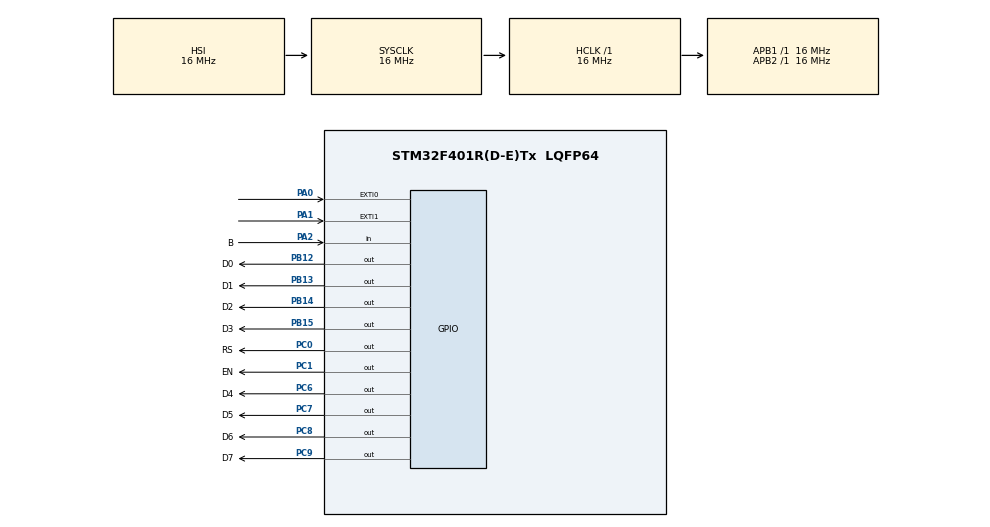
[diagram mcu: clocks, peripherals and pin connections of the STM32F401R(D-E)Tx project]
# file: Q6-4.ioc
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Mcu.Family=STM32F4
Mcu.Name=STM32F401R(D-E)Tx
Mcu.Package=LQFP64
NVIC.EXTI0_IRQn=true\:1\:0\:true\:false\:true\:true\:true
NVIC.EXTI1_IRQn=true\:1\:0\:true\:false\:true\:true\:true
NVIC.PriorityGroup=NVIC_PRIORITYGROUP_4
PA0-WKUP.GPIO_ModeDefaultEXTI=GPIO_MODE_IT_RISING
PA0-WKUP.Signal=GPXTI0
PA1.GPIO_ModeDefaultEXTI=GPIO_MODE_IT_FALLING
PA1.Signal=GPXTI1
PA2.GPIO_Label=B
PA2.Signal=GPIO_Input
PB12.GPIO_Label=D0
PB12.Signal=GPIO_Output
PB13.GPIO_Label=D1
PB13.Signal=GPIO_Output
PB14.GPIO_Label=D2
PB14.Signal=GPIO_Output
PB15.GPIO_Label=D3
PB15.Signal=GPIO_Output
PC0.GPIO_Label=RS
PC0.Signal=GPIO_Output
PC1.GPIO_Label=EN
PC1.Signal=GPIO_Output
PC6.GPIO_Label=D4
PC6.Signal=GPIO_Output
PC7.GPIO_Label=D5
PC7.Signal=GPIO_Output
PC8.GPIO_Label=D6
PC8.Signal=GPIO_Output
PC9.GPIO_Label=D7
PC9.Signal=GPIO_Output
ProjectManager.HeapSize=0x200
ProjectManager.StackSize=0x400
ProjectManager.TargetToolchain=STM32CubeIDE
RCC.AHBFreq_Value=16000000
RCC.APB1Freq_Value=16000000
RCC.APB2Freq_Value=16000000
RCC.CortexFreq_Value=16000000
RCC.HSE_VALUE=25000000
RCC.HSI_VALUE=16000000
RCC.LSE_VALUE=32768
RCC.SYSCLKFreq_VALUE=16000000
RCC.VCOOutputFreq_Value=192000000
TIM1.Period=0xffff
TIM1.Prescaler=15
VP_TIM1_VS_ClockSourceINT.Mode=Internal
board=custom

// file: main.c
/* USER CODE BEGIN Header */
/**
  ******************************************************************************
  * @file           : main.c
  * @brief          : Main program body
  ******************************************************************************
  * @attention
  *
  * <h2><center>&copy; Copyright (c) 2020 STMicroelectronics.
  * All rights reserved.</center></h2>
  *
  * This software component is licensed by ST under BSD 3-Clause license,
  * the "License"; You may not use this file except in compliance with the
  * License. You may obtain a copy of the License at:
  *                        opensource.org/licenses/BSD-3-Clause
  *
  ******************************************************************************
  */
/* USER CODE END Header */

#include "main.h"

/* USER CODE BEGIN Includes */
#include "STM_MY_LCD16X2.h"
#include "stdio.h"

/* USER CODE END Includes */

TIM_HandleTypeDef htim1;

/* USER CODE BEGIN PV */
uint32_t time = 0;
float speed;
int flag;

/* USER CODE END PV */

void SystemClock_Config(void);
static void MX_GPIO_Init(void);
static void MX_TIM1_Init(void);

int main(void)
{

  /* MCU Configuration--------------------------------------------------------*/

  /* Reset of all peripherals, Initializes the Flash interface and the Systick. */
  HAL_Init();

  /* Configure the system clock */
  SystemClock_Config();

  /* Initialize all configured peripherals */
  MX_GPIO_Init();
  MX_TIM1_Init();
  /* USER CODE BEGIN 2 */
  LCD1602_Begin8BIT(GPIOC,GPIO_PIN_0,GPIO_PIN_1,GPIOB,GPIO_PIN_12,GPIO_PIN_13,GPIO_PIN_14,GPIO_PIN_15,GPIOC,GPIO_PIN_6,GPIO_PIN_7,GPIO_PIN_8,GPIO_PIN_9);
  HAL_TIM_Base_Start(&htim1);

  /* USER CODE END 2 */

  /* Infinite loop */
  /* USER CODE BEGIN WHILE */
  while (1)
  {
	  HAL_Delay(100);
	  speed = (float)112781.95488721 / time ; //rpm = 60 / (n*t [sec])

	  LCD1602_clear();
	  LCD1602_1stLine();
	  LCD1602_PrintFloat(speed, 2);
	  LCD1602_print(" rpm");
	  if (flag == 1)
	  {
		  LCD1602_print(",CW");
	  }
	  else if (flag == 0)
	  {
		  LCD1602_print(",CCW");
	  }
    /* USER CODE END WHILE */

  }
}

void SystemClock_Config(void)
{
  RCC_OscInitTypeDef RCC_OscInitStruct = {0};
  RCC_ClkInitTypeDef RCC_ClkInitStruct = {0};

  /** Configure the main internal regulator output voltage
  */
  __HAL_RCC_PWR_CLK_ENABLE();
  __HAL_PWR_VOLTAGESCALING_CONFIG(PWR_REGULATOR_VOLTAGE_SCALE2);
  /** Initializes the CPU, AHB and APB busses clocks
  */
  RCC_OscInitStruct.OscillatorType = RCC_OSCILLATORTYPE_HSI;
  RCC_OscInitStruct.HSIState = RCC_HSI_ON;
  RCC_OscInitStruct.HSICalibrationValue = RCC_HSICALIBRATION_DEFAULT;
  RCC_OscInitStruct.PLL.PLLState = RCC_PLL_NONE;
  if (HAL_RCC_OscConfig(&RCC_OscInitStruct) != HAL_OK)
  {
    Error_Handler();
  }
  /** Initializes the CPU, AHB and APB busses clocks
  */
  RCC_ClkInitStruct.ClockType = RCC_CLOCKTYPE_HCLK|RCC_CLOCKTYPE_SYSCLK
                              |RCC_CLOCKTYPE_PCLK1|RCC_CLOCKTYPE_PCLK2;
  RCC_ClkInitStruct.SYSCLKSource = RCC_SYSCLKSOURCE_HSI;
  RCC_ClkInitStruct.AHBCLKDivider = RCC_SYSCLK_DIV1;
  RCC_ClkInitStruct.APB1CLKDivider = RCC_HCLK_DIV1;
  RCC_ClkInitStruct.APB2CLKDivider = RCC_HCLK_DIV1;

  if (HAL_RCC_ClockConfig(&RCC_ClkInitStruct, FLASH_LATENCY_0) != HAL_OK)
  {
    Error_Handler();
  }
}

static void MX_TIM1_Init(void)
{

  TIM_ClockConfigTypeDef sClockSourceConfig = {0};
  TIM_MasterConfigTypeDef sMasterConfig = {0};

  htim1.Instance = TIM1;
  htim1.Init.Prescaler = 15;
  htim1.Init.CounterMode = TIM_COUNTERMODE_UP;
  htim1.Init.Period = 0xffff;
  htim1.Init.ClockDivision = TIM_CLOCKDIVISION_DIV1;
  htim1.Init.RepetitionCounter = 0;
  htim1.Init.AutoReloadPreload = TIM_AUTORELOAD_PRELOAD_DISABLE;
  if (HAL_TIM_Base_Init(&htim1) != HAL_OK)
  {
    Error_Handler();
  }
  sClockSourceConfig.ClockSource = TIM_CLOCKSOURCE_INTERNAL;
  if (HAL_TIM_ConfigClockSource(&htim1, &sClockSourceConfig) != HAL_OK)
  {
    Error_Handler();
  }
  sMasterConfig.MasterOutputTrigger = TIM_TRGO_RESET;
  sMasterConfig.MasterSlaveMode = TIM_MASTERSLAVEMODE_DISABLE;
  if (HAL_TIMEx_MasterConfigSynchronization(&htim1, &sMasterConfig) != HAL_OK)
  {
    Error_Handler();
  }

}

static void MX_GPIO_Init(void)
{
  GPIO_InitTypeDef GPIO_InitStruct = {0};

  /* GPIO Ports Clock Enable */
  __HAL_RCC_GPIOC_CLK_ENABLE();
  __HAL_RCC_GPIOA_CLK_ENABLE();
  __HAL_RCC_GPIOB_CLK_ENABLE();

  /*Configure GPIO pin Output Level */
  HAL_GPIO_WritePin(GPIOC, RS_Pin|EN_Pin|D4_Pin|D5_Pin
                          |D6_Pin|D7_Pin, GPIO_PIN_RESET);

  /*Configure GPIO pin Output Level */
  HAL_GPIO_WritePin(GPIOB, D0_Pin|D1_Pin|D2_Pin|D3_Pin, GPIO_PIN_RESET);

  /*Configure GPIO pins : RS_Pin EN_Pin D4_Pin D5_Pin
                           D6_Pin D7_Pin */
  GPIO_InitStruct.Pin = RS_Pin|EN_Pin|D4_Pin|D5_Pin
                          |D6_Pin|D7_Pin;
  GPIO_InitStruct.Mode = GPIO_MODE_OUTPUT_PP;
  GPIO_InitStruct.Pull = GPIO_NOPULL;
  GPIO_InitStruct.Speed = GPIO_SPEED_FREQ_LOW;
  HAL_GPIO_Init(GPIOC, &GPIO_InitStruct);

  /*Configure GPIO pin : PA0 */
  GPIO_InitStruct.Pin = GPIO_PIN_0;
  GPIO_InitStruct.Mode = GPIO_MODE_IT_RISING;
  GPIO_InitStruct.Pull = GPIO_NOPULL;
  HAL_GPIO_Init(GPIOA, &GPIO_InitStruct);

  /*Configure GPIO pin : PA1 */
  GPIO_InitStruct.Pin = GPIO_PIN_1;
  GPIO_InitStruct.Mode = GPIO_MODE_IT_FALLING;
  GPIO_InitStruct.Pull = GPIO_NOPULL;
  HAL_GPIO_Init(GPIOA, &GPIO_InitStruct);

  /*Configure GPIO pin : B_Pin */
  GPIO_InitStruct.Pin = B_Pin;
  GPIO_InitStruct.Mode = GPIO_MODE_INPUT;
  GPIO_InitStruct.Pull = GPIO_NOPULL;
  HAL_GPIO_Init(B_GPIO_Port, &GPIO_InitStruct);

  /*Configure GPIO pins : D0_Pin D1_Pin D2_Pin D3_Pin */
  GPIO_InitStruct.Pin = D0_Pin|D1_Pin|D2_Pin|D3_Pin;
  GPIO_InitStruct.Mode = GPIO_MODE_OUTPUT_PP;
  GPIO_InitStruct.Pull = GPIO_NOPULL;
  GPIO_InitStruct.Speed = GPIO_SPEED_FREQ_LOW;
  HAL_GPIO_Init(GPIOB, &GPIO_InitStruct);

  /* EXTI interrupt init*/
  HAL_NVIC_SetPriority(EXTI0_IRQn, 1, 0);
  HAL_NVIC_EnableIRQ(EXTI0_IRQn);

  HAL_NVIC_SetPriority(EXTI1_IRQn, 1, 0);
  HAL_NVIC_EnableIRQ(EXTI1_IRQn);

}

/* USER CODE BEGIN 4 */
void HAL_GPIO_EXTI_Callback(uint16_t GPIO_PIN)
{
	if(GPIO_PIN == GPIO_PIN_0)
	{
		TIM1->CNT = 0;
		if (HAL_GPIO_ReadPin(GPIOA, GPIO_PIN_2) == GPIO_PIN_RESET)
		{
			flag = 1;
		}
		else if (HAL_GPIO_ReadPin(GPIOA, GPIO_PIN_2) == GPIO_PIN_SET)
		{
			flag = 0;
		}
	}
	if(GPIO_PIN == GPIO_PIN_1)
	{
		time = TIM1->CNT;
	}
}

/* USER CODE END 4 */

void Error_Handler(void)
{
}

/************************ (C) COPYRIGHT STMicroelectronics *****END OF FILE****/
